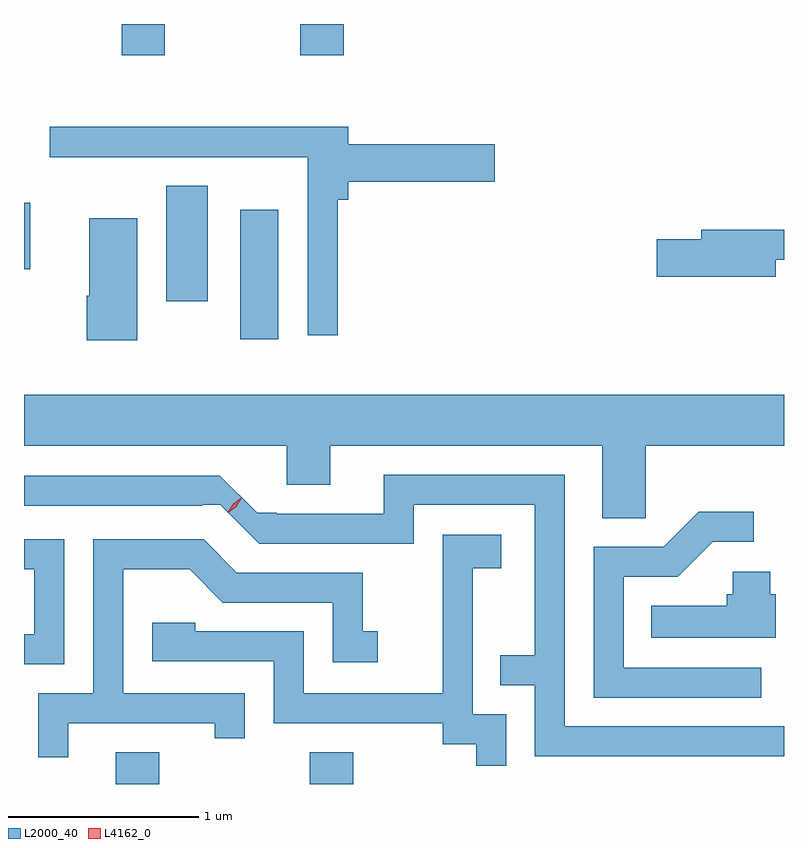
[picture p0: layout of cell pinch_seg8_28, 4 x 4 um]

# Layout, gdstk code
import gdstk
lib = gdstk.Library(unit=1e-6, precision=1e-09)
def R(c, l, rs):  # rectangles x0, y0, x1, y1
    for r in rs: c.add(gdstk.rectangle(r[:2], r[2:], *l))
def P(c, l, *ps):  # polygons
    for p in ps: c.add(gdstk.Polygon(p, *l))
L2000_40 = (2000, 40)
L4162_0 = (4162, 0)

pinch_seg8_28 = lib.new_cell('pinch_seg8_28')
R(pinch_seg8_28, L2000_40, [(856.961,1883.476,857.189,1883.644), (857.981,1883.476,858.209,1883.644), (857.616,1885.816,857.814,1886.499), (857.226,1886.016,857.444,1886.624), (856.477,1886.186,856.509,1886.534), (856.991,1887.311,857.219,1887.476), (857.931,1887.311,858.159,1887.476)])
P(pinch_seg8_28, L2000_40, [(858.129,1886.551),(858.184,1886.551),(858.184,1886.646),(858.954,1886.646),(858.954,1886.844),(858.184,1886.844),(858.184,1886.934),(856.613,1886.934),(856.613,1886.776),(857.971,1886.776),(857.971,1885.838),(858.129,1885.838)],
  [(857.074,1886.454),(856.821,1886.454),(856.821,1886.045),(856.806,1886.045),(856.806,1885.811),(857.074,1885.811)],
  [(860.434,1886.236),(860.477,1886.236),(860.477,1886.394),(860.041,1886.394),(860.041,1886.344),(859.806,1886.344),(859.806,1886.146),(860.434,1886.146)],
  [(859.749,1885.256),(860.477,1885.256),(860.477,1885.524),(856.477,1885.524),(856.477,1885.256),(857.861,1885.256),(857.861,1885.051),(858.089,1885.051),(858.089,1885.256),(859.521,1885.256),(859.521,1884.876),(859.749,1884.876)],
  [(860.477,1883.779),(859.324,1883.779),(859.324,1885.104),(858.371,1885.104),(858.371,1884.899),(857.806,1884.899),(857.806,1884.903),(857.704,1884.903),(857.508,1885.099),(856.477,1885.099),(856.477,1884.941),(857.415,1884.941),(857.415,1884.945),(857.51,1884.945),(857.714,1884.741),(858.529,1884.741),(858.529,1884.946),(859.166,1884.946),(859.166,1884.154),(858.983,1884.154),(858.983,1883.996),(859.166,1883.996),(859.166,1883.621),(860.477,1883.621)],
  [(860.358,1884.089),(859.634,1884.089),(859.634,1884.566),(859.917,1884.566),(860.102,1884.751),(860.318,1884.751),(860.318,1884.909),(860.029,1884.909),(859.844,1884.724),(859.476,1884.724),(859.476,1883.931),(860.358,1883.931)],
  [(859.014,1883.844),(858.839,1883.844),(858.839,1884.611),(858.989,1884.611),(858.989,1884.789),(858.681,1884.789),(858.681,1883.954),(857.949,1883.954),(857.949,1884.279),(857.379,1884.279),(857.379,1884.324),(857.151,1884.324),(857.151,1884.121),(857.791,1884.121),(857.791,1883.796),(858.681,1883.796),(858.681,1883.686),(858.856,1883.686),(858.856,1883.573),(859.014,1883.573)],
  [(856.709,1883.796),(857.481,1883.796),(857.481,1883.718),(857.639,1883.718),(857.639,1883.954),(856.999,1883.954),(856.999,1884.606),(857.349,1884.606),(857.524,1884.431),(858.101,1884.431),(858.101,1884.116),(858.338,1884.116),(858.338,1884.279),(858.259,1884.279),(858.259,1884.589),(857.597,1884.589),(857.422,1884.764),(856.841,1884.764),(856.841,1883.954),(856.551,1883.954),(856.551,1883.618),(856.709,1883.618)],
  [(856.689,1884.764),(856.477,1884.764),(856.477,1884.606),(856.531,1884.606),(856.531,1884.264),(856.477,1884.264),(856.477,1884.106),(856.689,1884.106)],
  [(860.434,1884.474),(860.404,1884.474),(860.404,1884.594),(860.206,1884.594),(860.206,1884.474),(860.176,1884.474),(860.176,1884.414),(859.778,1884.414),(859.778,1884.246),(860.434,1884.246)])
P(pinch_seg8_28, L4162_0, [(857.55,1884.904),(857.55,1884.905),(857.578,1884.95),(857.621,1884.982),(857.622,1884.982),(857.622,1884.982),(857.593,1884.936),(857.551,1884.904)],
  [(857.552,1884.909),(857.552,1884.91),(857.578,1884.951),(857.618,1884.979),(857.619,1884.979),(857.619,1884.978),(857.592,1884.937),(857.553,1884.909)])

lib.write_gds('pinch_seg8_28.gds')
